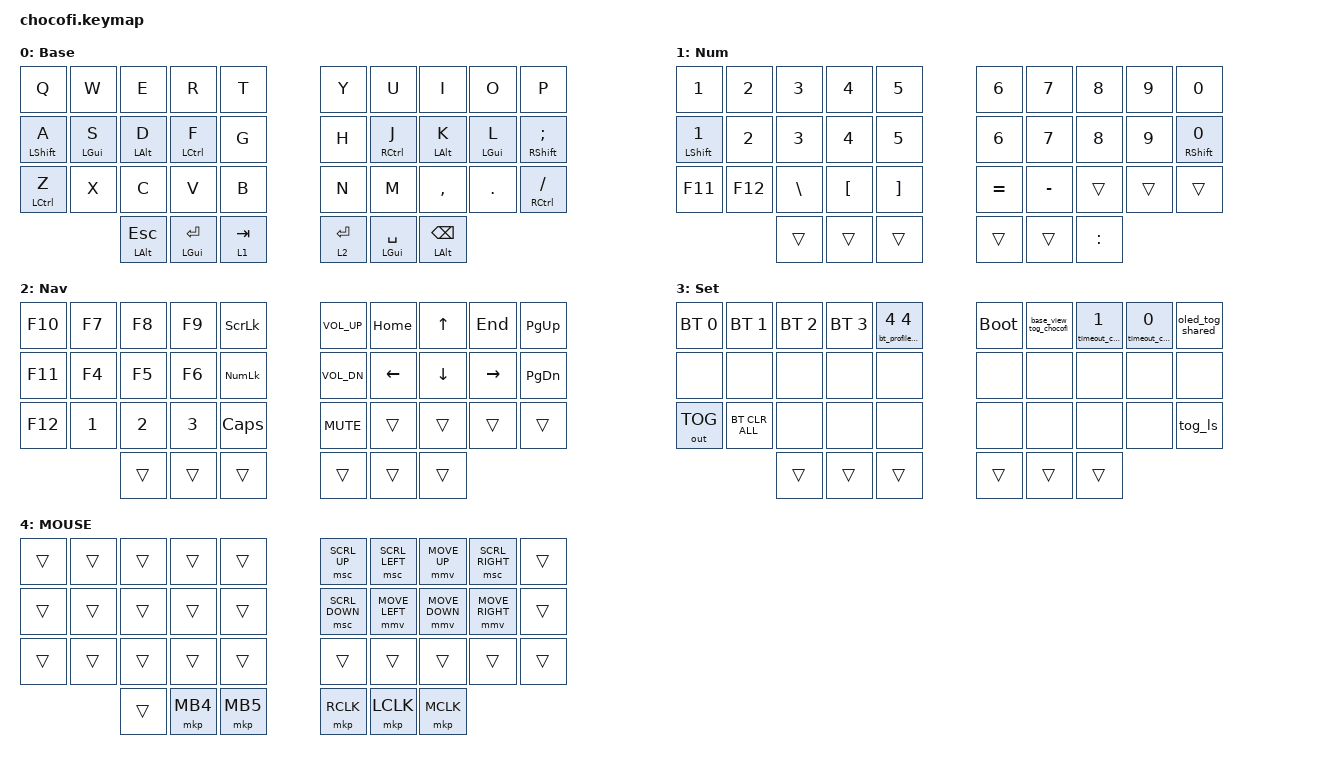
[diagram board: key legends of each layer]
/* Chocofi 5-column keymap restored from the ZMK Studio export.
 * SPDX-License-Identifier: MIT
 */
#include <behaviors.dtsi>
#include <dt-bindings/zmk/bt.h>
#include <dt-bindings/zmk/outputs.h>
#include <dt-bindings/zmk/pointing.h>
#include "../common/studio_features.dtsi"
#include "../common/studio_runtime_layers.dtsi"
#include <dt-bindings/zmk/keys.h>

/* Preserve the responsive Chocofi timings from the unified-dongle trial.
 * A 240ms tapping term and 175ms quick-tap window; no prior-idle delay.
 * The 80ms prior-idle gate made modifier activation feel sluggish.
 */
&mt {
    flavor = "balanced";
    tapping-term-ms = <240>;
    quick-tap-ms = <175>;
    require-prior-idle-ms = <(-1)>;
    hold-trigger-key-positions = <
        0xffffffff 0xffffffff 0xffffffff 0xffffffff
        0xffffffff 0xffffffff 0xffffffff 0xffffffff
        0xffffffff 0xffffffff 0xffffffff 0xffffffff
        0xffffffff 0xffffffff 0xffffffff 0xffffffff
        0xffffffff 0xffffffff 0xffffffff 0xffffffff
        0xffffffff 0xffffffff 0xffffffff 0xffffffff
        0xffffffff 0xffffffff 0xffffffff 0xffffffff
        0xffffffff 0xffffffff 0xffffffff 0xffffffff
    >;
    runtime-editable;
    runtime-default-active;
    display-name = "Mod-Tap";
};

&lt {
    /* Keep Hana's Layer-Tap defaults; only share the unrestricted trigger mask. */
    hold-trigger-key-positions = <
        0xffffffff 0xffffffff 0xffffffff 0xffffffff
        0xffffffff 0xffffffff 0xffffffff 0xffffffff
        0xffffffff 0xffffffff 0xffffffff 0xffffffff
        0xffffffff 0xffffffff 0xffffffff 0xffffffff
        0xffffffff 0xffffffff 0xffffffff 0xffffffff
        0xffffffff 0xffffffff 0xffffffff 0xffffffff
        0xffffffff 0xffffffff 0xffffffff 0xffffffff
        0xffffffff 0xffffffff 0xffffffff 0xffffffff
    >;
    runtime-editable;
    runtime-default-active;
    display-name = "Layer-Tap";
};

&bt_profile_shared {
    hold-trigger-key-positions = <
        0xffffffff 0xffffffff 0xffffffff 0xffffffff
        0xffffffff 0xffffffff 0xffffffff 0xffffffff
        0xffffffff 0xffffffff 0xffffffff 0xffffffff
        0xffffffff 0xffffffff 0xffffffff 0xffffffff
        0xffffffff 0xffffffff 0xffffffff 0xffffffff
        0xffffffff 0xffffffff 0xffffffff 0xffffffff
        0xffffffff 0xffffffff 0xffffffff 0xffffffff
        0xffffffff 0xffffffff 0xffffffff 0xffffffff
    >;
};

/ {
    behaviors {
        base_view_tog_chocofi: base_view_toggle_chocofi {
            compatible = "zmk,behavior-base-view-toggle";
            #binding-cells = <0>;
            display-name = "BASE View Cycle";
        };
    };
};

/ {
    combos {
        compatible = "zmk,combos";

        combo_studio_unlock {
            timeout-ms = <50>;
            key-positions = <30 35>;
            bindings = <&studio_unlock>;
        };

        combo_alt_tab {
            timeout-ms = <50>;
            key-positions = <12 13>;
            bindings = <&mt LALT TAB>;
        };

        combo_grave_gui {
            timeout-ms = <50>;
            key-positions = <11 12>;
            bindings = <&mt LGUI GRAVE>;
        };

        combo_bksp_alt {
            timeout-ms = <50>;
            key-positions = <16 17>;
            bindings = <&mt LALT BACKSPACE>;
        };

        combo_quote_ctrl {
            timeout-ms = <50>;
            key-positions = <18 19>;
            bindings = <&mt LCTRL SQT>;
        };

        combo_del_gui {
            timeout-ms = <50>;
            key-positions = <17 18>;
            bindings = <&mt RGUI DELETE>;
        };

        combo_mouse_layer {
            timeout-ms = <50>;
            key-positions = <12 13 14>;
            bindings = <&lt 4 ESC>;
        };

        combo_set_layer {
            timeout-ms = <50>;
            key-positions = <32 33>;
            bindings = <&lt 3 CAPSLOCK>;
        };
    };
};

/ {
    keymap {
        compatible = "zmk,keymap";

        default_layer {
            display-name = "Base";
            bindings = <
                &kp Q              &kp W              &kp E              &kp R              &kp T              &kp Y              &kp U              &kp I              &kp O              &kp P
                &mt LSHIFT A       &mt LGUI S         &mt LALT D         &mt LCTRL F        &kp G              &kp H              &mt RCTRL J        &mt LALT K         &mt LGUI L         &mt RSHIFT SEMI
                &mt LCTRL Z        &kp X              &kp C              &kp V              &kp B              &kp N              &kp M              &kp COMMA          &kp DOT            &mt RCTRL FSLH
                                        &mt LALT ESC    &mt LGUI ENTER    &lt 1 TAB         &lt 2 ENTER        &mt LGUI SPACE     &mt LALT BACKSPACE
            >;
        };

        num_layer {
            display-name = "Num";
            bindings = <
                &kp N1             &kp N2             &kp N3             &kp N4             &kp N5             &kp N6             &kp N7             &kp N8             &kp N9             &kp N0
                &mt LSHIFT N1      &kp N2             &kp N3             &kp N4             &kp N5             &kp N6             &kp N7             &kp N8             &kp N9             &mt RSHIFT N0
                &kp F11            &kp F12            &kp BSLH           &kp LBKT           &kp RBKT           &kp EQUAL          &kp MINUS          &trans             &trans             &trans
                                        &trans          &trans             &trans            &trans             &trans             &kp COLON
            >;
        };

        nav_layer {
            display-name = "Nav";
            bindings = <
                &kp F10            &kp F7             &kp F8             &kp F9             &kp SCROLLLOCK    &kp C_VOL_UP       &kp HOME           &kp UP_ARROW       &kp END            &kp PAGE_UP
                &kp F11            &kp F4             &kp F5             &kp F6             &kp KP_NUMLOCK       &kp C_VOL_DN       &kp LEFT           &kp DOWN           &kp RIGHT          &kp PAGE_DOWN
                &kp F12            &kp N1             &kp N2             &kp N3             &kp CAPSLOCK       &kp C_MUTE         &trans             &trans             &trans             &trans
                                        &trans          &trans             &trans            &trans             &trans             &trans
            >;
        };

        set_layer {
            display-name = "Set";
            bindings = <
                &bt BT_SEL 0        &bt BT_SEL 1        &bt BT_SEL 2        &bt BT_SEL 3        &bt_profile_shared 4 4  &bootloader  &base_view_tog_chocofi  &timeout_cycle_shared 1  &timeout_cycle_shared 0  &oled_tog_shared
                &none                &none                &none                &none                &none                &none        &none                   &none                    &none                    &none
                &out OUT_TOG         &bt BT_CLR_ALL      &none                &none                &none                &none        &none                   &none                    &none                    &tog_ls
                                        &trans             &trans               &trans              &trans              &trans       &trans
            >;
        };

        mouse_layer {
            display-name = "MOUSE";
            bindings = <
                &trans  &trans  &trans  &trans  &trans  &msc SCRL_UP    &msc SCRL_LEFT  &mmv MOVE_UP    &msc SCRL_RIGHT  &trans
                &trans  &trans  &trans  &trans  &trans  &msc SCRL_DOWN  &mmv MOVE_LEFT &mmv MOVE_DOWN  &mmv MOVE_RIGHT  &trans
                &trans  &trans  &trans  &trans  &trans  &trans         &trans         &trans          &trans           &trans
                        &trans  &mkp MB4 &mkp MB5 &mkp RCLK &mkp LCLK &mkp MCLK
            >;
        };

        ZMK_STUDIO_RUNTIME_LAYER_SLOTS_4
    };
};
